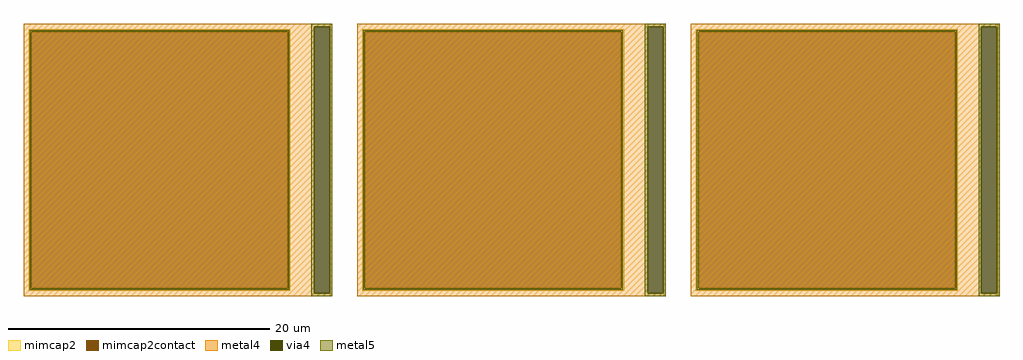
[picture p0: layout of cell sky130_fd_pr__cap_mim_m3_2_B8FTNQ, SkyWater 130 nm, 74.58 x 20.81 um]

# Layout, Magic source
magic
tech sky130B
magscale 1 2
<< metal4 >>
rect -7447 2039 -2749 2080
rect -7447 -2039 -3005 2039
rect -2769 -2039 -2749 2039
rect -7447 -2080 -2749 -2039
rect -2349 2039 2349 2080
rect -2349 -2039 2093 2039
rect 2329 -2039 2349 2039
rect -2349 -2080 2349 -2039
rect 2749 2039 7447 2080
rect 2749 -2039 7191 2039
rect 7427 -2039 7447 2039
rect 2749 -2080 7447 -2039
<< via4 >>
rect -3005 -2039 -2769 2039
rect 2093 -2039 2329 2039
rect 7191 -2039 7427 2039
<< mimcap2 >>
rect -7367 1960 -3367 2000
rect -7367 -1960 -7327 1960
rect -3407 -1960 -3367 1960
rect -7367 -2000 -3367 -1960
rect -2269 1960 1731 2000
rect -2269 -1960 -2229 1960
rect 1691 -1960 1731 1960
rect -2269 -2000 1731 -1960
rect 2829 1960 6829 2000
rect 2829 -1960 2869 1960
rect 6789 -1960 6829 1960
rect 2829 -2000 6829 -1960
<< mimcap2contact >>
rect -7327 -1960 -3407 1960
rect -2229 -1960 1691 1960
rect 2869 -1960 6789 1960
<< metal5 >>
rect -3047 2039 -2727 2081
rect -7351 1960 -3383 1984
rect -7351 -1960 -7327 1960
rect -3407 -1960 -3383 1960
rect -7351 -1984 -3383 -1960
rect -3047 -2039 -3005 2039
rect -2769 -2039 -2727 2039
rect 2051 2039 2371 2081
rect -2253 1960 1715 1984
rect -2253 -1960 -2229 1960
rect 1691 -1960 1715 1960
rect -2253 -1984 1715 -1960
rect -3047 -2081 -2727 -2039
rect 2051 -2039 2093 2039
rect 2329 -2039 2371 2039
rect 7149 2039 7469 2081
rect 2845 1960 6813 1984
rect 2845 -1960 2869 1960
rect 6789 -1960 6813 1960
rect 2845 -1984 6813 -1960
rect 2051 -2081 2371 -2039
rect 7149 -2039 7191 2039
rect 7427 -2039 7469 2039
rect 7149 -2081 7469 -2039
<< properties >>
string FIXED_BBOX 2749 -2080 6909 2080
string gencell sky130_fd_pr__cap_mim_m3_2
string library sky130
string parameters w 20.0 l 20.0 val 815.2 carea 2.00 cperi 0.19 nx 3 ny 1 dummy 0 square 1 lmin 2.00 wmin 2.00 lmax 30.0 wmax 30.0 dc 0 bconnect 1 tconnect 1 ccov 100
<< end >>
